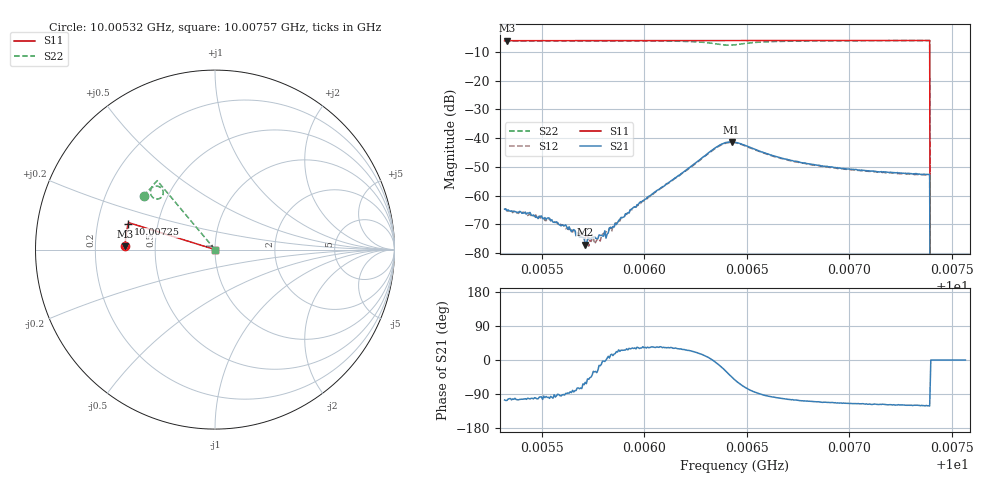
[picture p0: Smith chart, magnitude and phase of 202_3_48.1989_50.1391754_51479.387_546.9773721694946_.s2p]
#  HZ  S  RI  R  50.00
! Rohde & Schwarz Vector Network Analyzer
! Rohde-Schwarz,ZNB20-2Port,1311601062101988,3.16
! Created: UTC 3/20/2024, 11:45:05 AM
! freq[Hz]  re:S11  im:S11  re:S21  im:S21  re:S12  im:S12  re:S22  im:S22
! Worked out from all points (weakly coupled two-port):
!   401 points, 10.00532 GHz to 10.00757 GHz, reference 50 ohm
!   highest |S21| = -41.31 dB at 10.00643 GHz (marker M1); lowest = -77.1 dB at 10.00571 GHz (marker M2)
!   lowest |S11| = -6.0 dB at 10.00533 GHz (marker M3), VSWR 3.00, Z = 16.7 + j0.843 ohm
!   |S11| at or under -10 dB: 10.00739 GHz to end of sweep
!   |S22| runs from - to -6.0 dB; largest |S21 - S12| = 0.0005
!   S11 on the Smith chart (normalised r, x): 10.00532 GHz: 0.33, +0.02; 10.00725 GHz: 0.34, +0.13; 10.00757 GHz: 1.00, +0.00
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1.0005319e10  -0.5 0.0182  -0.000155 -0.000557  -0.000112 -0.000554  -0.3973 0.2968
1.000533e10  -0.4999 0.019  -0.000155 -0.00052  -0.00012 -0.000529  -0.3969 0.2976
1.0005432e10  -0.4998 0.0256  -9.31e-05 -0.000489  -0.000103 -0.000438  -0.3925 0.3034
1.0005538e10  -0.4998 0.0325  -7.86e-05 -0.000392  -5.61e-05 -0.000385  -0.3879 0.3098
1.0005623e10  -0.4995 0.0381  9.25e-06 -0.000283  1.24e-05 -0.000271  -0.3839 0.315
1.0005696e10  -0.4992 0.0428  4.74e-05 -0.000182  9.6e-05 -0.000212  -0.3802 0.3195
1.0005712e10  -0.4992 0.0439  7.2e-05 -0.000119  9.86e-05 -0.000148  -0.3794 0.3205
1.0005735e10  -0.4991 0.0454  0.000123 -0.00013  0.000118 -0.000117  -0.3783 0.322
1.0005774e10  -0.4989 0.0479  0.000158 -8.07e-05  0.000176 -3.88e-05  -0.3762 0.3244
1.0005814e10  -0.4988 0.0504  0.000181 -8.88e-07  0.000233 2.23e-06  -0.3738 0.327
1.0005943e10  -0.4981 0.0588  0.000507 0.000314  0.000491 0.000289  -0.3653 0.3356
1.0006072e10  -0.4972 0.0673  0.00106 0.000697  0.00103 0.000755  -0.3537 0.3446
1.0006353e10  -0.4944 0.0853  0.00695 -0.000977  0.00681 -0.000591  -0.2903 0.329
1.0006426e10  -0.4938 0.0893  0.00612 -0.00604  0.00628 -0.00559  -0.3061 0.2862
1.0006443e10  -0.4936 0.0904  0.0051 -0.00674  0.00536 -0.00636  -0.3164 0.2824
1.0006656e10  -0.4919 0.1039  -0.000835 -0.00457  -0.000604 -0.00453  -0.3591 0.3269
1.0006819e10  -0.4902 0.1143  -0.00117 -0.0033  -0.000978 -0.00325  -0.3519 0.347
1.0007196e10  -0.4849 0.1381  -0.00118 -0.00223  -0.00108 -0.00225  -0.3322 0.3736
1.0007246e10  -0.484 0.1413  -0.00119 -0.00218  -0.00104 -0.00215  -0.3296 0.3763
1.0007381e10  -0.4818 0.1496  -0.0012 -0.00201  -0.00108 -0.00203  -0.3226 0.3836
1.0007409e10  0 0  0 0  0 0  0 0
1.0007566e10  0 0  0 0  0 0  0 0
